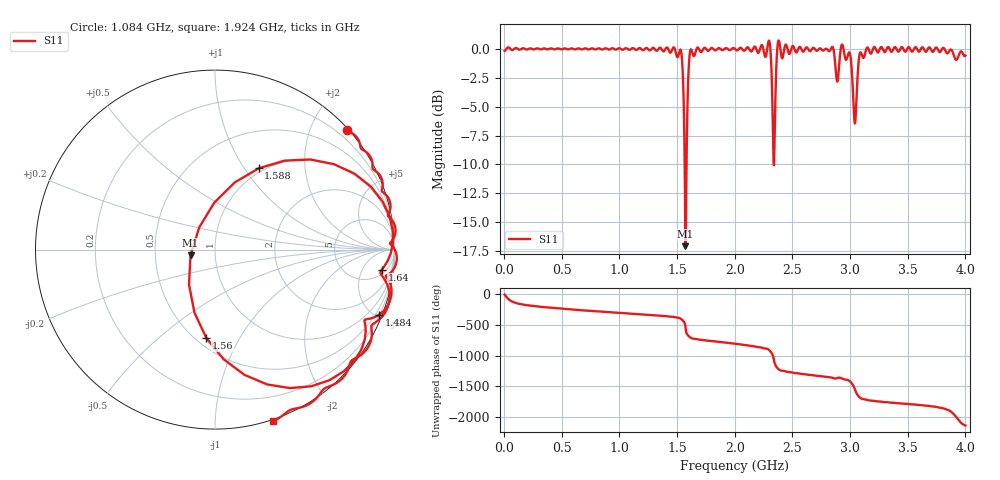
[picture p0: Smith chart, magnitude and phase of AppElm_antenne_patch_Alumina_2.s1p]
! TOUCHSTONE file generated by CST MICROWAVE STUDIO
! Date and time: Thu Jun  9 15:37:33 2022
! Project name: AppElm_antenne_patch_Alumina.cst
! Parameters = {L=30.5; W=41.8; e=0.035; h=1.6; lambda=0.190476; ls=90; w0=1.12; w1=0.373; ws=72; y0=14; y1=10}
! Header version: 2018
! Port assignment regex: !\s*Touchstone port\s*([0-9]+)\s*=\s*(CST MWS port|CST DS port)\s*([0-9]+|Zmin|Zmax)\s*\(\"(.*)\"\)(\s*mode\s*([0-9]+))?.*
! Touchstone port assignment:
! Touchstone port 1 = CST MWS port 1 ("")
# GHz S MA R 50
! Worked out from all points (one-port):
!   1000 points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, 4 MHz to 4 GHz, reference 50 ohm
!   lowest |S11| = -17.1 dB at 1.572 GHz (marker M1), VSWR 1.33, Z = 37.9 - j2.48 ohm
!   |S11| at or under -10 dB: 1.565 GHz to 1.582 GHz (16.41 MHz wide, 1.04 % of centre); 2.339354 GHz to 2.340194 GHz (840.1 kHz wide, 0.0359 % of centre)
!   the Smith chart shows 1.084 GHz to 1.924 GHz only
!   S11 on the Smith chart (normalised r, x): 1.084 GHz: 0.04, +2.59; 1.484 GHz: 0.23, -5.22; 1.56 GHz: 0.56, -0.74; 1.588 GHz: 0.95, +1.17; 1.64 GHz: 7, -13; 1.924 GHz: -0.01, -1.39
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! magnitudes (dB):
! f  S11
! 4 MHz  -0.2
! 504 MHz  0.0
! 1.004 GHz  0.0
! 1.084 GHz  -0.1
! 1.484 GHz  -0.1
! 1.504 GHz  -0.7
! 1.536 GHz  -0.3
! 1.56 GHz  -6.1
! 1.572 GHz  -17.1
! 1.588 GHz  -5.8
! 1.608 GHz  -0.6
! 1.64 GHz  -0.6
! 1.924 GHz  0.1
! 2.004 GHz  0.0
! 2.296 GHz  0.7
! 2.308 GHz  0.1
! 2.328 GHz  -5.5
! 2.34 GHz  -10.1
! 2.38 GHz  0.7
! 2.504 GHz  0.3
! 2.84 GHz  0.1
! 2.888 GHz  -2.8
! 2.932 GHz  0.4
! 3.004 GHz  -0.7
! 3.04 GHz  -6.5
! 3.096 GHz  -0.3
! 3.504 GHz  0.1
! 4 GHz  -0.6
